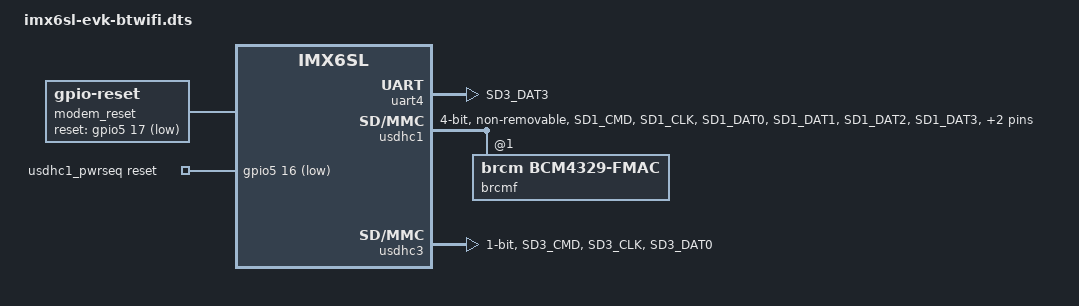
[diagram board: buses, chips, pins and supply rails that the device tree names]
/*
 * Copyright (C) 2015 Freescale Semiconductor, Inc.
 *
 * This program is free software; you can redistribute it and/or modify
 * it under the terms of the GNU General Public License version 2 as
 * published by the Free Software Foundation.
 */

/* NOTE: This DTS file is written for plugging in Murata Wi-Fi/BT EVK into SD1
 * slot using Murata i.MX InterConnect Ver 1.0 Adapter AND wiring in control
 * signals with SD Card Extender on SD3 slot.
 * Bluetooth UART connect via SD1 EMMC/MMC Plus pinout.
 * WL_REG_ON/BT_REG_ON/WL_HOST_WAKE are connected from SD Card Extender on SD3
 * slot.
 */
#include "imx6sl-evk.dts"

/ {
	modem_reset: modem-reset {
		compatible = "gpio-reset";
		reset-gpios = <&gpio5 17 GPIO_ACTIVE_LOW>;
		reset-delay-us = <1000>;
		#reset-cells = <0>;
	};

	usdhc1_pwrseq: usdhc1_pwrseq {
		compatible = "mmc-pwrseq-simple";
		reset-gpios = <&gpio5 16 GPIO_ACTIVE_LOW>;
	};
};

&iomuxc {
	imx6sl-evk-murata-v1_sdext {
		/* Only MUX SD1_DAT0..3 lines so UART4 can be MUXed on higher data lines. */
		pinctrl_btreg: btreggrp {
			fsl,pins = <
				MX6SL_PAD_SD3_DAT3__GPIO5_IO17          0x13069 /* BT_REG_ON */
			>;
		};

		pinctrl_wifi: wifigrp {
			fsl,pins = <
				MX6SL_PAD_SD1_CMD__SD1_CMD		0x17059
				MX6SL_PAD_SD1_CLK__SD1_CLK		0x10059
				MX6SL_PAD_SD1_DAT0__SD1_DATA0		0x17059
				MX6SL_PAD_SD1_DAT1__SD1_DATA1		0x17059
				MX6SL_PAD_SD1_DAT2__SD1_DATA2		0x17059
				MX6SL_PAD_SD1_DAT3__SD1_DATA3		0x17059
				MX6SL_PAD_SD3_DAT1__GPIO5_IO20		0x13069 /* WL_HOST_WAKE */
				MX6SL_PAD_SD3_DAT2__GPIO5_IO16		0x13069 /* WL_REG_ON */
			>;
		};

		pinctrl_usdhc3_1: usdhc3grp-1 {
			fsl,pins = <
				MX6SL_PAD_SD3_CMD__SD3_CMD		0x17059
				MX6SL_PAD_SD3_CLK__SD3_CLK		0x10059
				MX6SL_PAD_SD3_DAT0__SD3_DATA0		0x17059
			>;
		};
	};
};
/* Murata: declare UART4 interface for Bluetooth. */
&uart4 {
	pinctrl-names = "default";
	pinctrl-0 = <&pinctrl_uart4_1
		     &pinctrl_btreg>;
	fsl,uart-has-rtscts;
	resets = <&modem_reset>;
	status = "okay";
	/* for DTE mode, add below change */
	/* fsl,dte-mode; */
	/* pinctrl-0 = <&pinctrl_uart4dte_1>; */
};

&usdhc1 {
	#address-cells = <1>;
	#size-cells = <0>;
	pinctrl-names = "default";
	pinctrl-0 = <&pinctrl_wifi>;
	bus-width = <4>;
	no-1-8-v;
	non-removable;
	mmc-pwrseq = <&usdhc1_pwrseq>;
	pm-ignore-notify;
	cap-power-off-card;

	brcmf: bcrmf@1 {
		reg = <1>;
		compatible = "brcm,bcm4329-fmac";
	};
};

&usdhc3 {
	pinctrl-names = "default";
	pinctrl-0 = <&pinctrl_usdhc3_1>;
	bus-width = <1>;
	no-1-8-v;
};
